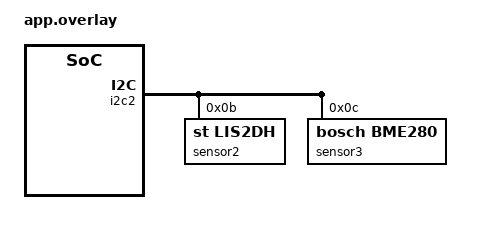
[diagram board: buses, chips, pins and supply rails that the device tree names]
/*
 * Copyright (c) 2022 Trackunit A/S
 *
 * SPDX-License-Identifier: Apache-2.0
 */

&i2c2 {
	lis2dh@0b {
		compatible = "st,lis2dh";
		reg = <0x0b>;
		label = "sensor2";
	};

	lis2dh@0c {
		compatible = "bosch,bme280";
		reg = <0x0c>;
		label = "sensor3";
	};
};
